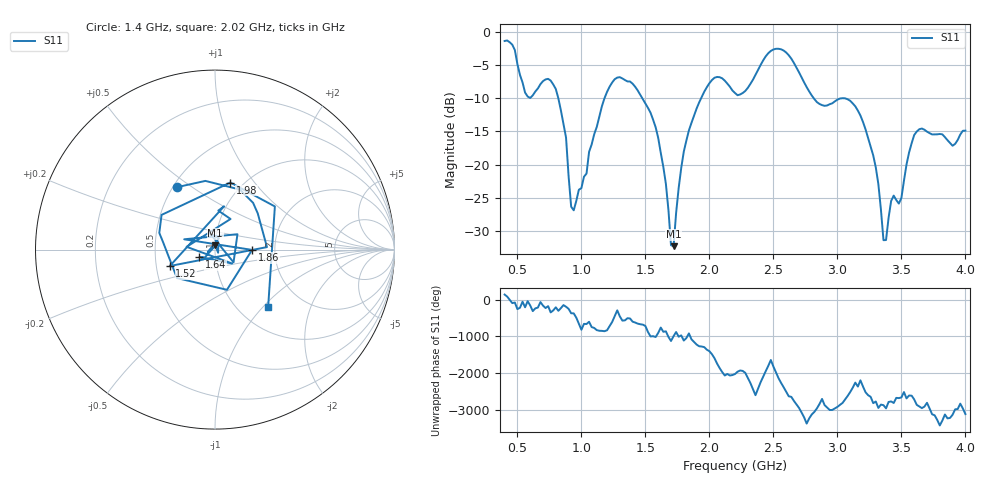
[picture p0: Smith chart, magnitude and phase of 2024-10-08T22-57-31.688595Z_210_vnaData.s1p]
! Created with skrf (http://scikit-rf.org).
# Hz S RI R 50.0
!freq ReS11 ImS11
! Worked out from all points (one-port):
!   181 points, 400 MHz to 4 GHz, reference 50 ohm
!   lowest |S11| = -32.3 dB at 1.72 GHz (marker M1), VSWR 1.05, Z = 50.1 + j2.42 ohm
!   |S11| at or under -10 dB: 819.8 MHz to 1.18 GHz (360.3 MHz wide, 36 % of centre); 1.476 GHz to 1.935 GHz (458.6 MHz wide, 26.9 % of centre); 3.058 GHz to end of sweep (the widest 3 of 4)
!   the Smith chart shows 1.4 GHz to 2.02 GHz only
!   S11 on the Smith chart (normalised r, x): 1.4 GHz: 0.52, +0.44; 1.52 GHz: 0.59, -0.12; 1.64 GHz: 0.84, -0.07; 1.86 GHz: 1.52, -0.01; 1.98 GHz: 0.87, +0.77; 2.02 GHz: 1.36, -1.07
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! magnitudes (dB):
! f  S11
! 400 MHz  -1.3
! 580 MHz  -9.7
! 760 MHz  -7.3
! 860 MHz  -13.9
! 940 MHz  -26.9
! 1.18 GHz  -10.0
! 1.3 GHz  -6.8
! 1.4 GHz  -7.8
! 1.52 GHz  -11.4
! 1.64 GHz  -20.4
! 1.7 GHz  -32.2
! 1.72 GHz  -32.3
! 1.76 GHz  -23.5
! 1.86 GHz  -13.7
! 1.98 GHz  -8.3
! 2.02 GHz  -7.2
! 2.2 GHz  -9.2
! 2.5 GHz  -2.6
! 2.66 GHz  -4.7
! 2.86 GHz  -10.9
! 3.1 GHz  -10.4
! 3.28 GHz  -18.6
! 3.36 GHz  -31.4
! 3.42 GHz  -25.5
! 3.5 GHz  -25.0
! 3.56 GHz  -18.2
! 3.64 GHz  -14.7
! 4 GHz  -14.9
